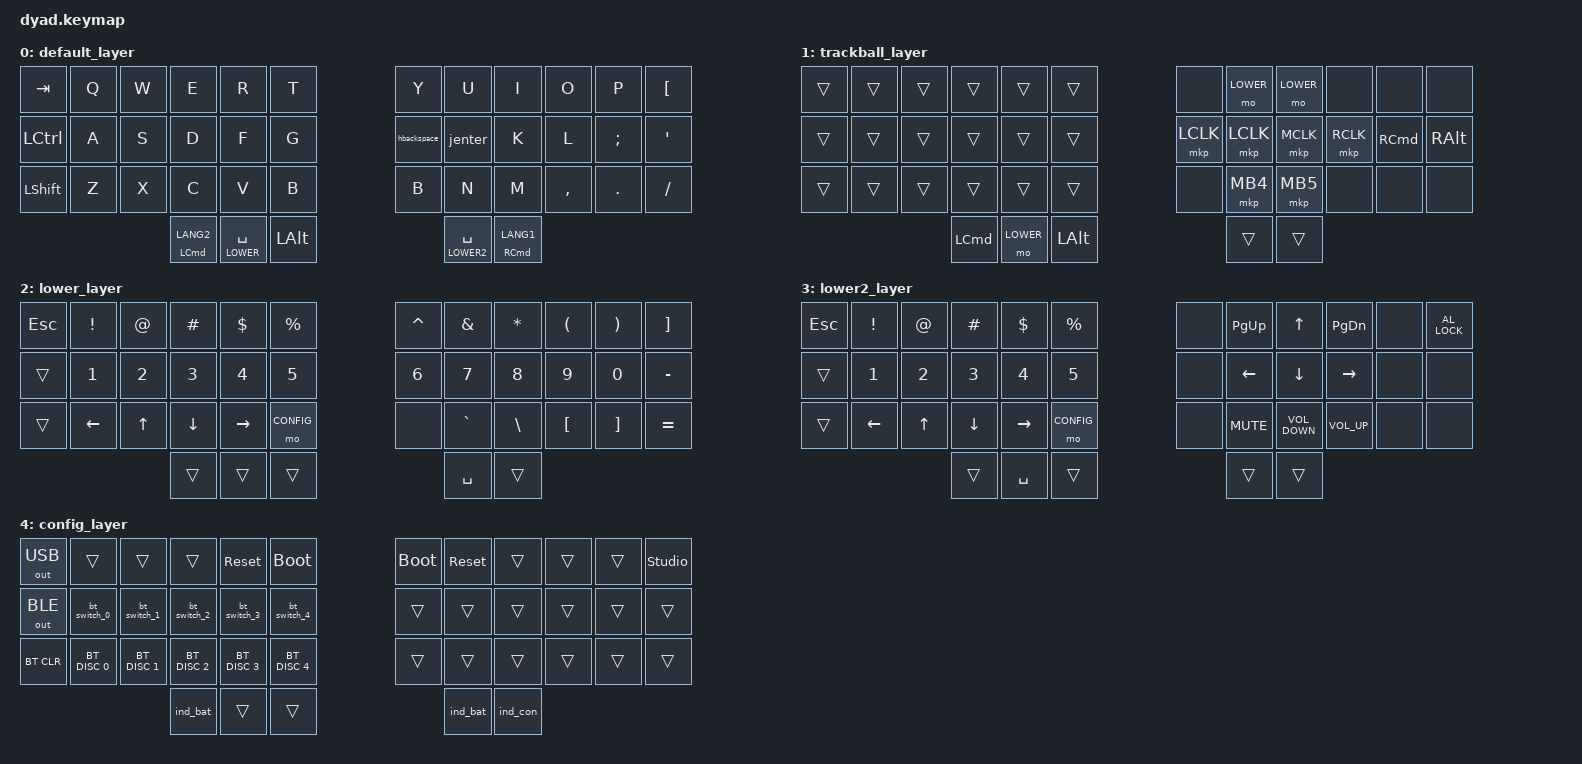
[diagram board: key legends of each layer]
#include <behaviors.dtsi>
#include <behaviors/mouse_move.dtsi>
#include <dt-bindings/zmk/keys.h>
#include <dt-bindings/zmk/mouse.h>
#include <dt-bindings/zmk/bt.h>
#include <dt-bindings/zmk/outputs.h>
#include <behaviors/rgbled_widget.dtsi>

#define DEFAULT     0
#define TRACKBALL   1
#define LOWER       2
#define LOWER2      3
#define CONFIG      4

/ {
    behaviors {
        // ctrl+h as backspace
        hbackspace: h_or_ctrl_backspace {
            compatible = "zmk,behavior-mod-morph";
            #binding-cells = <0>;
            bindings = <&kp H>, <&kp BACKSPACE>;
            mods = <(MOD_LCTL)>;
        };
        // ctrl+j as enter
        jenter: j_or_ctrl_enter {
            compatible = "zmk,behavior-mod-morph";
            #binding-cells = <0>;
            bindings = <&kp J>, <&kp ENTER>;
            mods = <(MOD_LCTL)>;
        };
    };
    macros {
        ZMK_MACRO(bt_switch_0,
            wait-ms = <50>;
            bindings = <&bt BT_SEL 0 &bt BT_DISC 1 &bt BT_DISC 2 &bt BT_DISC 3 &bt BT_DISC 4 &bt BT_DISC 1 &bt BT_DISC 2 &bt BT_DISC 3 &bt BT_DISC 4>;
        )
        ZMK_MACRO(bt_switch_1,
            wait-ms = <50>;
            bindings = <&bt BT_SEL 1 &bt BT_DISC 0 &bt BT_DISC 2 &bt BT_DISC 3 &bt BT_DISC 4 &bt BT_DISC 0 &bt BT_DISC 2 &bt BT_DISC 3 &bt BT_DISC 4>;
        )
        ZMK_MACRO(bt_switch_2,
            wait-ms = <50>;
            bindings = <&bt BT_SEL 2 &bt BT_DISC 1 &bt BT_DISC 0 &bt BT_DISC 3 &bt BT_DISC 4 &bt BT_DISC 1 &bt BT_DISC 0 &bt BT_DISC 3 &bt BT_DISC 4>;
        )
        ZMK_MACRO(bt_switch_3,
            wait-ms = <50>;
            bindings = <&bt BT_SEL 3 &bt BT_DISC 1 &bt BT_DISC 2 &bt BT_DISC 0 &bt BT_DISC 4 &bt BT_DISC 1 &bt BT_DISC 2 &bt BT_DISC 0 &bt BT_DISC 4>;
        )
        ZMK_MACRO(bt_switch_4,
            wait-ms = <50>;
            bindings = <&bt BT_SEL 4 &bt BT_DISC 1 &bt BT_DISC 2 &bt BT_DISC 3 &bt BT_DISC 0 &bt BT_DISC 1 &bt BT_DISC 2 &bt BT_DISC 3 &bt BT_DISC 0>;
        )
    };

    keymap {
        compatible = "zmk,keymap";
        default_layer {
            // --------------------------------------------------------------------------------------------------------------------------------------------------------------------
            // |   TAB   |    Q    |    W    |    E       |    R             |    T    |  |    Y    |    U             |    I     |    O    |    P    |    [    |
            // |   CTRL  |    A    |    S    |    D       |    F             |    G    |  |    H    |    J             |    K     |    L    |    ;    |    '    |
            // |  SHIFT  |    Z    |    X    |    C       |    V             |    B    |  |    B    |    N             |    M     |    ,    |    .    |    /    |
            //                               |   Cmd (En) |  SPACE or LOWER  |  Alt    |             |  Space or LOWER2 |  Cmd(ja) |
            bindings = <
            &kp TAB         &kp Q      &kp W      &kp E     &kp R     &kp T          &kp Y         &kp U           &kp I     &kp O     &kp P    &kp LBKT
            &kp LCTRL       &kp A      &kp S      &kp D     &kp F     &kp G          &hbackspace   &jenter         &kp K     &kp L     &kp SEMI &kp SQT
            &kp LSHIFT      &kp Z      &kp X      &kp C     &kp V     &kp B          &kp B         &kp N           &kp M     &kp COMMA &kp DOT  &kp FSLH
            &mt LCMD LANG2  &lt LOWER SPACE  &kp LALT                                              &lt LOWER2 SPACE &mt RCMD LANG1
            >;
        };
        // enabled during using trackball
        trackball_layer {
            bindings = <
            // 0 - 11
            &trans      &trans    &trans &trans   &trans   &trans          &none     &mo LOWER &mo LOWER  &none     &none    &none
            // 12 - 23
            &trans      &trans    &trans &trans   &trans   &trans          &mkp LCLK &mkp LCLK &mkp MCLK  &mkp RCLK &kp RCMD &kp RALT
            // 24 - 35
            &trans      &trans    &trans &trans   &trans   &trans          &none     &mkp MB4  &mkp MB5    &none     &none    &none
            // 36 -
            &kp LCMD    &mo LOWER &kp LALT                                           &trans    &trans
            >;
        };
        // enabled by LOWER in default_layer
        // trackball becomes scroll mode during this layer enabled
        lower_layer {
            // --------------------------------------------------------------------------------------------------------------------------------------------------------------------
            // |  ESC    |  !  |  @  |  #       |  $  |  %       |     |  ^  |  &      |  *      |  (  |  )  |  ]  |
            // |  CTRL   |  1  |  2  |  3       |  4  |  5       |     |  6  |  7      |  8      |  9  |  0  |  -  |
            // |  SHIFT  | left|  up | down     |right|  CONFIG  |           | vol down|  vol up |  `  |  \  |  =  |
            //                       | Cmd (En) |     |  Alt     |           | SPACE   |  Cmd(ja)|
            bindings = <
            &kp ESC    &kp EXCL &kp AT &kp HASH &kp DLLR  &kp PRCNT       &kp CARET &kp AMPS        &kp ASTRK         &kp LPAR  &kp RPAR      &kp RBKT
            &trans     &kp N1   &kp N2 &kp N3   &kp N4    &kp N5          &kp N6    &kp N7          &kp N8            &kp N9    &kp N0        &kp MINUS
            &trans     &kp LEFT &kp UP &kp DOWN &kp RIGHT &mo CONFIG      &none     &kp GRAVE       &kp BACKSLASH     &kp LBKT  &kp RBKT      &kp EQUAL
            &trans     &trans   &trans                                              &kp SPACE       &trans
            >;
        };
        // enabled by LOWER2 in default_layer
        lower2_layer {
            // --------------------------------------------------------------------------------------------------------------------------------------------------------------------
            // |  ESC    |  !  |  @  |  #       |  $    |  %       |     |     | pgup|  up  |pgdn |     |  lock|
            // |  CTRL   |  1  |  2  |  3       |  4 hh   |  5       |     |     | left|  down|right|     |      |
            // |  SHIFT  |     |     |          |       |  CONFIG  |           |     |      |     |     |      |
            //                       |          | SPACE |          |           |     |      |
            bindings = <
            &kp ESC    &kp EXCL  &kp AT &kp HASH &kp DLLR  &kp PRCNT          &none     &kp PAGE_UP     &kp UP   &kp PAGE_DOWN  &none &kp C_AL_LOCK
            &trans     &kp N1    &kp N2 &kp N3   &kp N4    &kp N5             &none     &kp LEFT        &kp DOWN &kp RIGHT      &none &none
            &trans     &kp LEFT  &kp UP &kp DOWN &kp RIGHT &mo CONFIG         &none     &kp C_MUTE      &kp C_VOLUME_DOWN &kp C_VOLUME_UP &none &none
            &trans     &kp SPACE &trans                                                 &trans          &trans
            >;
        };
        // enabled by CONFIG in lower_layer (= LOWER + CONFIG)
        // BT<X>: connect to bluetooth X
        // DISC<X>: disconnect from bluetooth X
        config_layer {
            // --------------------------------------------------------------------------------------------------------------------------------------------------------------------
            // | USB mode |       |     |            | Reset | Bootloader | Bootloader | Reset      |                   |     |     |     | studio unlock    |
            // | BLE mode | BT0   | BT1 | BT2        | BT3   | BT4        |            |            |                   |     |     |     |                  |
            // | BLE clear| DISC 0|   1 |   2        |   3   |  4         |            |            |                   |     |     |     |
            //                          | battery LED|       |            |            | battery LED| connection LED    |
            bindings = <
            &out OUT_USB &trans        &trans        &trans        &sys_reset    &bootloader     &bootloader &sys_reset &trans    &trans    &trans    &studio_unlock
            &out OUT_BLE &bt_switch_0  &bt_switch_1  &bt_switch_2  &bt_switch_3  &bt_switch_4    &trans      &trans     &trans    &trans    &trans    &trans
            &bt BT_CLR   &bt BT_DISC 0 &bt BT_DISC 1 &bt BT_DISC 2 &bt BT_DISC 3 &bt BT_DISC 4   &trans      &trans     &trans    &trans    &trans    &trans
            &ind_bat     &trans       &trans                                                                 &ind_bat   &ind_con
            >;
        };
        extra1 {
            status = "reserved";
        };
        extra2 {
            status = "reserved";
        };
    };
};
